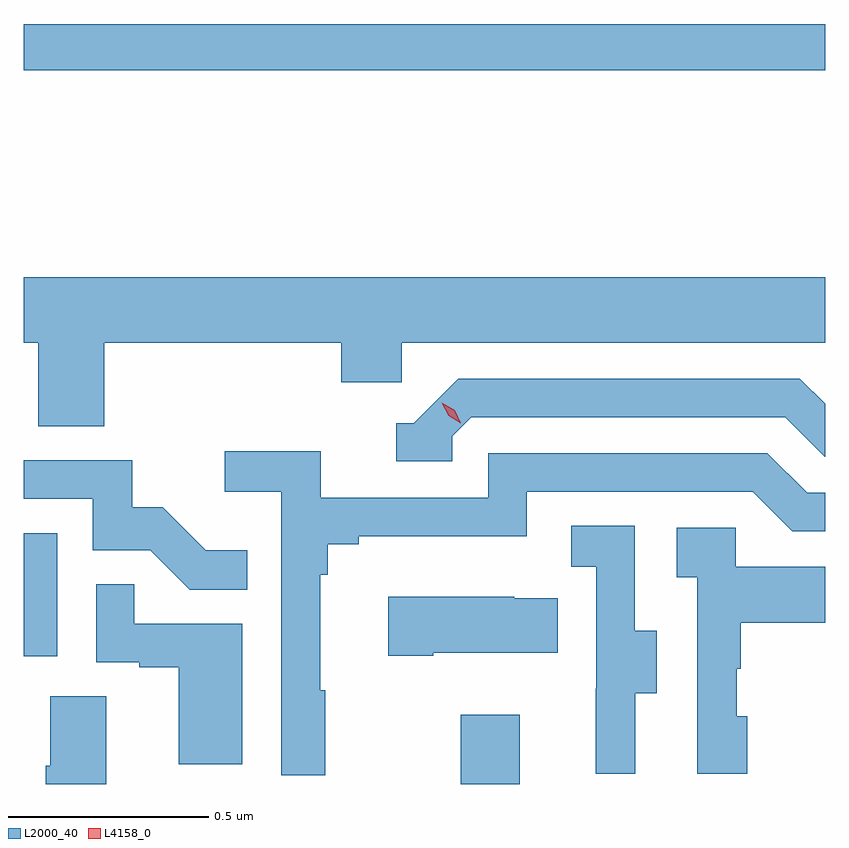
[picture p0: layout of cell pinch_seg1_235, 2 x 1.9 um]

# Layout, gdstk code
import gdstk
lib = gdstk.Library(unit=1e-6, precision=1e-09)
def R(c, l, rs):  # rectangles x0, y0, x1, y1
    for r in rs: c.add(gdstk.rectangle(r[:2], r[2:], *l))
def P(c, l, *ps):  # polygons
    for p in ps: c.add(gdstk.Polygon(p, *l))
L2000_40 = (2000, 40)
L4158_0 = (4158, 0)

pinch_seg1_235 = lib.new_cell('pinch_seg1_235')
R(pinch_seg1_235, L2000_40, [(954.37,569.279,954.517,569.452), (953.279,569.598,953.362,569.905), (953.279,571.06,955.279,571.176)])
P(pinch_seg1_235, L2000_40, [(953.48,570.38),(954.071,570.38),(954.071,570.282),(954.222,570.282),(954.222,570.38),(955.279,570.38),(955.279,570.544),(953.279,570.544),(953.279,570.38),(953.315,570.38),(953.315,570.172),(953.48,570.172)],
  [(954.348,570.147),(954.396,570.195),(955.179,570.195),(955.278,570.096),(955.279,570.096),(955.279,570.228),(955.216,570.291),(954.363,570.291),(954.252,570.18),(954.209,570.18),(954.209,570.084),(954.348,570.084)],
  [(954.031,569.513),(954.019,569.513),(954.019,569.801),(954.038,569.801),(954.038,569.878),(954.115,569.878),(954.115,569.897),(954.534,569.897),(954.534,570.009),(955.098,570.009),(955.197,569.91),(955.279,569.91),(955.279,570.006),(955.234,570.006),(955.135,570.105),(954.438,570.105),(954.438,569.994),(954.02,569.994),(954.02,570.11),(953.781,570.11),(953.781,570.008),(953.922,570.008),(953.922,569.301),(954.031,569.301)],
  [(953.837,569.863),(953.733,569.863),(953.626,569.97),(953.55,569.97),(953.55,570.087),(953.279,570.087),(953.279,569.991),(953.451,569.991),(953.451,569.862),(953.595,569.862),(953.693,569.764),(953.837,569.764)],
  [(954.805,569.506),(954.859,569.506),(954.859,569.661),(954.804,569.661),(954.804,569.924),(954.645,569.924),(954.645,569.821),(954.708,569.821),(954.708,569.517),(954.707,569.517),(954.707,569.304),(954.805,569.304)],
  [(955.084,569.448),(955.059,569.448),(955.059,569.567),(955.069,569.567),(955.069,569.681),(955.279,569.681),(955.279,569.821),(955.056,569.821),(955.056,569.919),(954.909,569.919),(954.909,569.795),(954.96,569.795),(954.96,569.304),(955.084,569.304)],
  [(953.824,569.679),(953.555,569.679),(953.555,569.777),(953.46,569.777),(953.46,569.583),(953.567,569.583),(953.567,569.571),(953.666,569.571),(953.666,569.328),(953.824,569.328)],
  [(954.301,569.606),(954.611,569.606),(954.611,569.743),(954.503,569.743),(954.503,569.746),(954.189,569.746),(954.189,569.599),(954.301,569.599)],
  [(953.485,569.498),(953.345,569.498),(953.345,569.324),(953.333,569.324),(953.333,569.279),(953.485,569.279)])
P(pinch_seg1_235, L4158_0, [(954.37,570.179),(954.339,570.198),(954.322,570.231),(954.322,570.231),(954.322,570.231),(954.354,570.212),(954.37,570.179),(954.37,570.179)])

lib.write_gds('pinch_seg1_235.gds')
